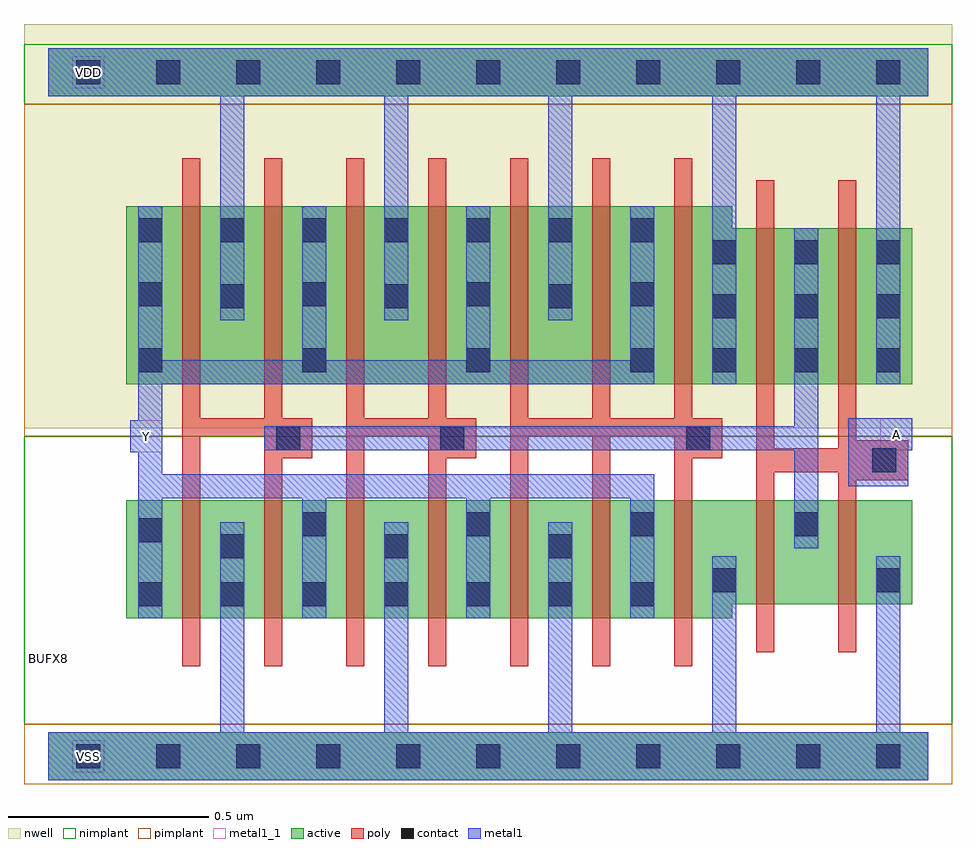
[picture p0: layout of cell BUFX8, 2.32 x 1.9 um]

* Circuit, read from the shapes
.subckt BUFX8 A VDD VSS Y
M1 VSS n1 Y VSS nfet w=0.295u l=0.045u m=7
M2 n1 A VSS VSS nfet w=0.26u l=0.045u m=2
M3 VDD n1 Y VDD pfet w=0.445u l=0.045u m=7
M4 n1 A VDD VDD pfet w=0.39u l=0.045u m=2
.ends

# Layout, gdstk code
import gdstk
lib = gdstk.Library(unit=1e-6, precision=5e-10)
def R(c, l, rs):  # rectangles x0, y0, x1, y1
    for r in rs: c.add(gdstk.rectangle(r[:2], r[2:], *l))
def A(c, l, x, y, w, h, nx, ny, dx, dy):  # array of equal rectangles
    R(c, l, [(x+i*dx, y+j*dy, x+i*dx+w, y+j*dy+h) for i in range(nx) for j in range(ny)])
def P(c, l, *ps):  # polygons
    for p in ps: c.add(gdstk.Polygon(p, *l))
active = (1, 0)
nwell = (2, 0)
poly = (3, 0)
nimplant = (4, 0)
pimplant = (5, 0)
contact = (6, 0)
metal1 = (7, 0)
metal1_1 = (7, 1)

bufx8 = lib.new_cell('BUFX8')
R(bufx8, active, [(0,-0.06,2.2,0.06), (0,1.65,2.2,1.77)])
P(bufx8, active, [(0.195,1.375),(1.71,1.375),(1.71,1.32),(2.16,1.32),(2.16,0.93),(0.195,0.93)],
  [(0.195,0.64),(2.16,0.64),(2.16,0.38),(1.71,0.38),(1.71,0.345),(0.195,0.345)])
R(bufx8, nwell, [(-0.06,0.82,2.26,1.83)])
P(bufx8, poly, [(0.335,1.495),(0.38,1.495),(0.38,0.845),(0.54,0.845),(0.54,1.495),(0.585,1.495),(0.585,0.845),(0.66,0.845),(0.66,0.745),(0.585,0.745),(0.585,0.225),(0.54,0.225),(0.54,0.8),(0.38,0.8),(0.38,0.225),(0.335,0.225)],
  [(0.745,1.495),(0.79,1.495),(0.79,0.845),(0.95,0.845),(0.95,1.495),(0.995,1.495),(0.995,0.845),(1.07,0.845),(1.07,0.745),(0.995,0.745),(0.995,0.225),(0.95,0.225),(0.95,0.8),(0.79,0.8),(0.79,0.225),(0.745,0.225)],
  [(1.155,1.495),(1.2,1.495),(1.2,0.845),(1.36,0.845),(1.36,1.495),(1.405,1.495),(1.405,0.845),(1.565,0.845),(1.565,1.495),(1.61,1.495),(1.61,0.845),(1.685,0.845),(1.685,0.745),(1.61,0.745),(1.61,0.225),(1.565,0.225),(1.565,0.8),(1.405,0.8),(1.405,0.225),(1.36,0.225),(1.36,0.8),(1.2,0.8),(1.2,0.225),(1.155,0.225)],
  [(1.77,1.44),(1.815,1.44),(1.815,0.77),(1.975,0.77),(1.975,1.44),(2.02,1.44),(2.02,0.79),(2.15,0.79),(2.15,0.69),(2.02,0.69),(2.02,0.26),(1.975,0.26),(1.975,0.71),(1.815,0.71),(1.815,0.26),(1.77,0.26)])
R(bufx8, nimplant, [(-0.06,0.08,2.26,0.8), (-0.06,1.63,2.26,1.78)])
R(bufx8, pimplant, [(-0.06,-0.07,2.26,0.08), (-0.06,0.8,2.26,1.63)])
A(bufx8, contact, 0.07, -0.03, 0.06, 0.06, 11, 2, 0.2, 1.71)
A(bufx8, contact, 0.225, 0.375, 0.06, 0.06, 7, 2, 0.205, 0.91)
A(bufx8, contact, 0.43, 0.495, 0.06, 0.06, 3, 2, 0.41, 0.625)
A(bufx8, contact, 0.635, 0.55, 0.06, 0.06, 4, 1, 0.41, 0)
A(bufx8, contact, 0.225, 0.96, 0.06, 0.06, 4, 2, 0.41, 0.165)
A(bufx8, contact, 1.66, 0.96, 0.06, 0.06, 3, 3, 0.205, 0.135)
R(bufx8, contact, [(1.66,0.41,1.72,0.47), (2.07,0.41,2.13,0.47), (0.225,0.535,0.285,0.595), (2.06,0.71,2.12,0.77), (0.57,0.765,0.63,0.825), (0.98,0.765,1.04,0.825), (1.595,0.765,1.655,0.825)])
R(bufx8, metal1, [(0.205,0.76,0.25,0.84)])
P(bufx8, metal1, [(1.865,1.32),(1.925,1.32),(1.925,0.52),(1.865,0.52),(1.865,0.765),(0.54,0.765),(0.54,0.825),(1.865,0.825)],
  [(2.16,0.845),(2,0.845),(2,0.675),(2.15,0.675),(2.15,0.765),(2.16,0.765)],
  [(0.43,0.585),(0.49,0.585),(0.49,0.06),(0.84,0.06),(0.84,0.585),(0.9,0.585),(0.9,0.06),(1.25,0.06),(1.25,0.585),(1.31,0.585),(1.31,0.06),(1.66,0.06),(1.66,0.5),(1.72,0.5),(1.72,0.06),(2.07,0.06),(2.07,0.5),(2.13,0.5),(2.13,0.06),(2.2,0.06),(2.2,-0.06),(0,-0.06),(0,0.06),(0.43,0.06)],
  [(0,1.77),(2.2,1.77),(2.2,1.65),(2.13,1.65),(2.13,0.93),(2.07,0.93),(2.07,1.65),(1.72,1.65),(1.72,0.93),(1.66,0.93),(1.66,1.65),(1.31,1.65),(1.31,1.09),(1.25,1.09),(1.25,1.65),(0.9,1.65),(0.9,1.09),(0.84,1.09),(0.84,1.65),(0.49,1.65),(0.49,1.09),(0.43,1.09),(0.43,1.65),(0,1.65)],
  [(0.225,1.375),(0.285,1.375),(0.285,0.99),(0.635,0.99),(0.635,1.375),(0.695,1.375),(0.695,0.99),(1.045,0.99),(1.045,1.375),(1.105,1.375),(1.105,0.99),(1.455,0.99),(1.455,1.375),(1.515,1.375),(1.515,0.93),(0.285,0.93),(0.285,0.705),(1.515,0.705),(1.515,0.345),(1.455,0.345),(1.455,0.645),(1.105,0.645),(1.105,0.345),(1.045,0.345),(1.045,0.645),(0.695,0.645),(0.695,0.345),(0.635,0.345),(0.635,0.645),(0.285,0.645),(0.285,0.345),(0.225,0.345)])
R(bufx8, metal1_1, [(0.06,-0.04,0.14,0.04), (0.205,0.76,0.285,0.84), (2.08,0.765,2.16,0.845), (0.06,1.67,0.14,1.75)])
bufx8.add(gdstk.Label('Y', (0.245,0.8), layer=7, texttype=1))
bufx8.add(gdstk.Label('A', (2.12,0.805), layer=7, texttype=1))
bufx8.add(gdstk.Label('VDD', (0.1,1.71), layer=7, texttype=1))
bufx8.add(gdstk.Label('VSS', (0.1,0), layer=7, texttype=1))
bufx8.add(gdstk.Label('BUFX8', (0,0.245), layer=63, texttype=0))

lib.write_gds('BUFX8.gds')
